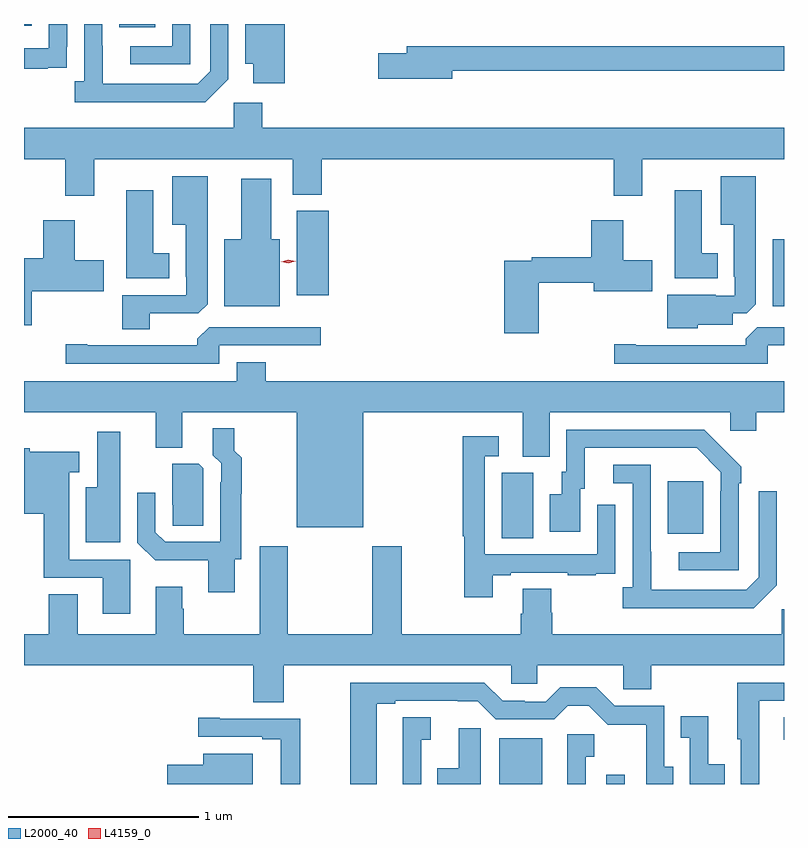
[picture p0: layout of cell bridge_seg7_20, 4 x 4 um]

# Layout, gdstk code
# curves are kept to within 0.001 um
import gdstk
lib = gdstk.Library(unit=1e-6, precision=1e-09)
def R(c, l, rs):  # rectangles x0, y0, x1, y1
    for r in rs: c.add(gdstk.rectangle(r[:2], r[2:], *l))
def P(c, l, *ps):  # polygons
    for p in ps: c.add(gdstk.Polygon(p, *l))
L2000_40 = (2000, 40)
L4159_0 = (4159, 0)

bridge_seg7_20 = lib.new_cell('bridge_seg7_20')
R(bridge_seg7_20, L2000_40, [(1093.265,1043.947,1093.492,1044.187), (1093.83,1043.947,1093.926,1043.995), (1094.763,1044.18,1094.765,1044.299), (1093.28,1045.24,1093.444,1045.584), (1094.153,1045.265,1094.341,1045.54), (1094.705,1046.462,1094.765,1046.815), (1092.2,1046.52,1092.368,1046.964), (1091.267,1047.929,1091.455,1047.947), (1090.765,1047.939,1090.807,1047.947)])
P(bridge_seg7_20, L2000_40, [(1091.64,1047.947),(1091.544,1047.947),(1091.544,1047.831),(1091.325,1047.831),(1091.325,1047.735),(1091.64,1047.735)],
  [(1091.841,1047.657),(1091.841,1047.947),(1091.745,1047.947),(1091.745,1047.699),(1091.679,1047.633),(1091.179,1047.633),(1091.178,1047.947),(1091.082,1047.947),(1091.082,1047.646),(1091.031,1047.646),(1091.031,1047.536),(1091.72,1047.536)],
  [(1090.889,1047.717),(1090.991,1047.717),(1090.991,1047.826),(1090.992,1047.826),(1090.992,1047.947),(1090.896,1047.947),(1090.896,1047.819),(1090.765,1047.819),(1090.765,1047.711),(1090.889,1047.711)],
  [(1092.138,1047.884),(1092.137,1047.884),(1092.137,1047.947),(1091.93,1047.947),(1091.93,1047.737),(1091.972,1047.737),(1091.972,1047.636),(1092.138,1047.636)],
  [(1093.018,1047.702),(1094.765,1047.702),(1094.765,1047.83),(1092.779,1047.83),(1092.779,1047.794),(1092.63,1047.794),(1092.63,1047.659),(1093.018,1047.659)],
  [(1091.134,1047.236),(1092.179,1047.236),(1092.179,1047.049),(1092.332,1047.049),(1092.332,1047.236),(1093.868,1047.236),(1093.868,1047.042),(1094.02,1047.042),(1094.02,1047.236),(1094.765,1047.236),(1094.765,1047.4),(1092.02,1047.4),(1092.02,1047.532),(1091.868,1047.532),(1091.868,1047.4),(1090.765,1047.4),(1090.765,1047.236),(1090.982,1047.236),(1090.982,1047.042),(1091.134,1047.042)],
  [(1091.428,1046.424),(1091.682,1046.424),(1091.731,1046.473),(1091.731,1047.145),(1091.546,1047.145),(1091.546,1046.891),(1091.615,1046.891),(1091.615,1046.617),(1091.619,1046.617),(1091.619,1046.52),(1091.281,1046.52),(1091.281,1046.341),(1091.428,1046.341)],
  [(1094.31,1046.363),(1094.494,1046.363),(1094.494,1046.424),(1094.568,1046.424),(1094.617,1046.473),(1094.617,1047.145),(1094.432,1047.145),(1094.432,1046.891),(1094.501,1046.891),(1094.501,1046.617),(1094.505,1046.617),(1094.505,1046.517),(1094.405,1046.517),(1094.405,1046.521),(1094.15,1046.521),(1094.15,1046.345),(1094.31,1046.345)],
  [(1092.112,1046.815),(1092.067,1046.815),(1092.067,1047.133),(1091.909,1047.133),(1091.909,1046.815),(1091.819,1046.815),(1091.819,1046.462),(1092.112,1046.462)],
  [(1091.53,1046.74),(1091.446,1046.74),(1091.446,1047.073),(1091.303,1047.073),(1091.303,1046.609),(1091.53,1046.609)],
  [(1094.416,1046.74),(1094.332,1046.74),(1094.332,1047.073),(1094.189,1047.073),(1094.189,1046.609),(1094.416,1046.609)],
  [(1093.475,1046.584),(1093.763,1046.584),(1093.763,1046.54),(1094.071,1046.54),(1094.071,1046.703),(1093.918,1046.703),(1093.918,1046.914),(1093.751,1046.914),(1093.751,1046.72),(1093.438,1046.72),(1093.438,1046.7),(1093.292,1046.7),(1093.292,1046.319),(1093.475,1046.319)],
  [(1090.806,1046.54),(1091.185,1046.54),(1091.185,1046.703),(1091.032,1046.703),(1091.032,1046.914),(1090.865,1046.914),(1090.865,1046.713),(1090.765,1046.713),(1090.765,1046.361),(1090.806,1046.361)],
  [(1094.679,1046.256),(1094.765,1046.256),(1094.765,1046.352),(1094.625,1046.352),(1094.564,1046.29),(1094.564,1046.256),(1093.984,1046.256),(1093.984,1046.261),(1093.872,1046.261),(1093.872,1046.16),(1094.679,1046.16)],
  [(1091.793,1046.256),(1092.328,1046.256),(1092.328,1046.352),(1091.739,1046.352),(1091.678,1046.29),(1091.678,1046.256),(1091.098,1046.256),(1091.098,1046.261),(1090.986,1046.261),(1090.986,1046.16),(1091.793,1046.16)],
  [(1092.55,1045.904),(1093.391,1045.904),(1093.391,1045.669),(1093.531,1045.669),(1093.531,1045.904),(1094.481,1045.904),(1094.481,1045.806),(1094.62,1045.806),(1094.62,1045.904),(1094.765,1045.904),(1094.765,1046.068),(1092.038,1046.068),(1092.038,1046.167),(1091.885,1046.167),(1091.885,1046.068),(1090.765,1046.068),(1090.765,1045.904),(1091.459,1045.904),(1091.459,1045.717),(1091.599,1045.717),(1091.599,1045.904),(1092.2,1045.904),(1092.2,1045.298),(1092.55,1045.298)],
  [(1091.875,1045.131),(1091.908,1045.131),(1091.908,1045.474),(1091.91,1045.474),(1091.91,1045.664),(1091.872,1045.702),(1091.872,1045.819),(1091.759,1045.819),(1091.759,1045.678),(1091.802,1045.635),(1091.802,1045.535),(1091.799,1045.535),(1091.799,1045.221),(1091.508,1045.221),(1091.457,1045.272),(1091.457,1045.48),(1091.361,1045.48),(1091.361,1045.218),(1091.455,1045.124),(1091.735,1045.124),(1091.735,1044.957),(1091.875,1044.957)],
  [(1094.526,1045.529),(1094.541,1045.529),(1094.541,1045.617),(1094.344,1045.812),(1093.62,1045.812),(1093.62,1045.59),(1093.595,1045.59),(1093.595,1045.471),(1093.532,1045.471),(1093.532,1045.275),(1093.693,1045.275),(1093.693,1045.5),(1093.717,1045.5),(1093.717,1045.716),(1094.305,1045.716),(1094.433,1045.587),(1094.433,1045.487),(1094.43,1045.487),(1094.43,1045.167),(1094.211,1045.167),(1094.211,1045.071),(1094.526,1045.071)],
  [(1091.272,1045.801),(1091.15,1045.801),(1091.15,1045.51),(1091.09,1045.51),(1091.09,1045.22),(1091.272,1045.22)],
  [(1093.231,1045.047),(1093.327,1045.047),(1093.327,1045.059),(1093.627,1045.059),(1093.627,1045.047),(1093.775,1045.047),(1093.775,1045.053),(1093.877,1045.053),(1093.877,1045.162),(1093.878,1045.162),(1093.878,1045.417),(1093.782,1045.417),(1093.782,1045.155),(1093.191,1045.155),(1093.191,1045.671),(1093.264,1045.671),(1093.264,1045.777),(1093.075,1045.777),(1093.075,1045.252),(1093.083,1045.252),(1093.083,1044.93),(1093.231,1044.93)],
  [(1091.323,1045.128),(1091.002,1045.128),(1091.002,1045.587),(1091.056,1045.587),(1091.056,1045.697),(1090.794,1045.697),(1090.794,1045.714),(1090.765,1045.714),(1090.765,1045.37),(1090.868,1045.37),(1090.868,1045.032),(1091.18,1045.032),(1091.18,1044.843),(1091.323,1044.843)],
  [(1091.709,1045.608),(1091.685,1045.632),(1091.546,1045.632),(1091.546,1045.417),(1091.547,1045.417),(1091.547,1045.306),(1091.709,1045.306)],
  [(1094.727,1044.993),(1094.727,1045.489),(1094.631,1045.489),(1094.631,1045.035),(1094.565,1044.969),(1094.065,1044.969),(1094.064,1045.626),(1093.866,1045.626),(1093.866,1045.53),(1093.968,1045.53),(1093.968,1044.982),(1093.917,1044.982),(1093.917,1044.872),(1094.606,1044.872)],
  [(1092.132,1044.572),(1093.329,1044.572),(1093.329,1044.474),(1093.467,1044.474),(1093.467,1044.572),(1093.92,1044.572),(1093.92,1044.445),(1094.067,1044.445),(1094.067,1044.572),(1094.765,1044.572),(1094.765,1044.868),(1094.754,1044.868),(1094.754,1044.736),(1093.544,1044.736),(1093.544,1044.849),(1093.539,1044.849),(1093.539,1044.974),(1093.391,1044.974),(1093.391,1044.842),(1093.379,1044.842),(1093.379,1044.736),(1092.753,1044.736),(1092.753,1045.198),(1092.598,1045.198),(1092.598,1044.736),(1092.153,1044.736),(1092.153,1045.198),(1092.005,1045.198),(1092.005,1044.736),(1091.607,1044.736),(1091.607,1044.869),(1091.599,1044.869),(1091.599,1044.985),(1091.459,1044.985),(1091.459,1044.736),(1091.047,1044.736),(1091.047,1044.947),(1090.895,1044.947),(1090.895,1044.736),(1090.765,1044.736),(1090.765,1044.572),(1091.972,1044.572),(1091.972,1044.376),(1092.132,1044.376)],
  [(1094.636,1044.083),(1094.634,1044.083),(1094.634,1044.384),(1094.765,1044.384),(1094.765,1044.48),(1094.519,1044.48),(1094.519,1044.183),(1094.538,1044.183),(1094.538,1043.947),(1094.636,1043.947)],
  [(1092.622,1044.369),(1092.718,1044.369),(1092.718,1044.384),(1093.153,1044.383),(1093.248,1044.288),(1093.557,1044.288),(1093.628,1044.36),(1093.738,1044.36),(1093.838,1044.259),(1094.04,1044.259),(1094.04,1043.947),(1094.183,1043.947),(1094.183,1044.038),(1094.136,1044.038),(1094.136,1044.36),(1093.875,1044.36),(1093.778,1044.457),(1093.588,1044.457),(1093.512,1044.381),(1093.4,1044.381),(1093.4,1044.384),(1093.284,1044.384),(1093.188,1044.48),(1092.482,1044.48),(1092.482,1043.947),(1092.622,1043.947)],
  [(1094.453,1044.05),(1094.365,1044.05),(1094.365,1044.304),(1094.221,1044.304),(1094.221,1044.191),(1094.268,1044.191),(1094.268,1043.947),(1094.453,1043.947)],
  [(1092.855,1044.18),(1092.907,1044.18),(1092.907,1044.299),(1092.759,1044.299),(1092.759,1044.191),(1092.758,1044.191),(1092.758,1043.947),(1092.855,1043.947)],
  [(1092.218,1044.291),(1091.794,1044.291),(1091.794,1044.296),(1091.682,1044.296),(1091.682,1044.195),(1092.02,1044.195),(1092.02,1044.183),(1092.116,1044.183),(1092.116,1043.947),(1092.218,1043.947)],
  [(1093.168,1044.241),(1093.052,1044.241),(1093.052,1044.03),(1092.94,1044.03),(1092.94,1043.947),(1093.168,1043.947)],
  [(1093.722,1044.091),(1093.767,1044.091),(1093.767,1044.21),(1093.625,1044.21),(1093.625,1043.947),(1093.722,1043.947)],
  [(1091.968,1044.106),(1091.708,1044.106),(1091.708,1044.049),(1091.52,1044.049),(1091.52,1043.947),(1091.968,1043.947)])
P(bridge_seg7_20, L4159_0, [(1092.157,1046.687),(1092.119,1046.697),(1092.119,1046.697),(1092.119,1046.697),(1092.157,1046.707),(1092.194,1046.698),(1092.194,1046.698),(1092.194,1046.698)])

lib.write_gds('bridge_seg7_20.gds')
